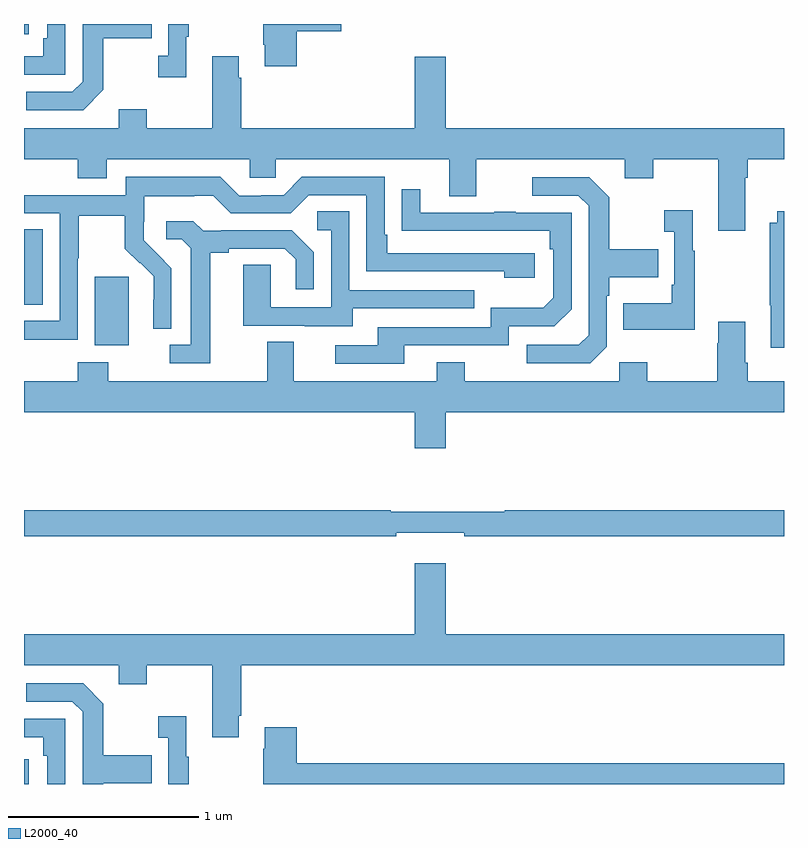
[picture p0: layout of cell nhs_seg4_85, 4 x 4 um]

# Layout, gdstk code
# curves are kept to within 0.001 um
import gdstk
lib = gdstk.Library(unit=1e-6, precision=1e-09)
def R(c, l, rs):  # rectangles x0, y0, x1, y1
    for r in rs: c.add(gdstk.rectangle(r[:2], r[2:], *l))
def P(c, l, *ps):  # polygons
    for p in ps: c.add(gdstk.Polygon(p, *l))
L2000_40 = (2000, 40)

nhs_seg4_85 = lib.new_cell('nhs_seg4_85')
R(nhs_seg4_85, L2000_40, [(115,758.9,115.024,759.03), (115.373,761.21,115.552,761.571), (115,761.422,115.099,761.819), (115,762.846,115.024,762.9)])
P(nhs_seg4_85, L2000_40, [(115.855,762.833),(115.867,762.833),(115.867,762.9),(115.758,762.9),(115.758,762.734),(115.707,762.734),(115.707,762.621),(115.855,762.621)],
  [(115.417,762.553),(115.417,762.826),(115.673,762.826),(115.673,762.9),(115.308,762.9),(115.308,762.597),(115.254,762.543),(115.011,762.543),(115.011,762.447),(115.311,762.447)],
  [(116.435,762.863),(116.671,762.863),(116.671,762.9),(116.26,762.9),(116.26,762.79),(116.267,762.79),(116.267,762.678),(116.435,762.678)],
  [(115.218,762.9),(115.122,762.9),(115.122,762.826),(115.102,762.826),(115.102,762.729),(115,762.729),(115,762.633),(115.218,762.633)],
  [(118.795,762.092),(118.808,762.092),(118.808,762.188),(119,762.188),(119,762.352),(117.22,762.352),(117.22,762.727),(117.056,762.727),(117.056,762.352),(116.144,762.352),(116.144,762.617),(116.131,762.617),(116.131,762.73),(115.991,762.73),(115.991,762.352),(115.647,762.352),(115.647,762.451),(115.499,762.451),(115.499,762.352),(115,762.352),(115,762.188),(115.283,762.188),(115.283,762.089),(115.435,762.089),(115.435,762.188),(116.187,762.188),(116.187,762.09),(116.325,762.09),(116.325,762.188),(117.239,762.188),(117.239,761.994),(117.379,761.994),(117.379,762.188),(118.163,762.188),(118.163,762.089),(118.311,762.089),(118.311,762.188),(118.655,762.188),(118.655,761.811),(118.795,761.811)],
  [(115.284,761.668),(115.287,761.668),(115.287,761.892),(115.531,761.892),(115.531,761.717),(115.608,761.64),(115.611,761.643),(115.682,761.573),(115.682,761.45),(115.68,761.45),(115.68,761.296),(115.776,761.296),(115.776,761.614),(115.63,761.762),(115.63,761.859),(115.632,761.859),(115.632,761.993),(115.895,761.993),(115.895,761.997),(115.995,761.997),(116.088,761.904),(116.403,761.904),(116.499,762),(116.802,762),(116.802,761.598),(117.527,761.598),(117.527,761.564),(117.688,761.564),(117.688,761.694),(116.911,761.694),(116.911,761.791),(116.898,761.791),(116.898,762.096),(116.463,762.096),(116.367,762),(116.249,762),(116.249,761.997),(116.133,761.997),(116.033,762.097),(115.536,762.097),(115.536,762),(115,762),(115,761.904),(115.188,761.904),(115.188,761.337),(115,761.337),(115,761.239),(115.284,761.239)],
  [(118.068,761.202),(118.068,761.471),(118.081,761.471),(118.081,761.567),(118.337,761.567),(118.337,761.715),(118.081,761.715),(118.081,761.987),(117.975,762.093),(117.675,762.093),(117.675,761.997),(117.918,761.997),(117.972,761.943),(117.972,761.262),(117.921,761.211),(117.645,761.211),(117.645,761.115),(117.981,761.115)],
  [(117.001,761.208),(117.552,761.208),(117.552,761.31),(117.792,761.31),(117.882,761.4),(117.882,761.907),(117.587,761.907),(117.587,761.912),(117.475,761.912),(117.475,761.907),(117.085,761.907),(117.085,762.031),(116.989,762.031),(116.989,761.812),(117.766,761.811),(117.766,761.714),(117.786,761.714),(117.786,761.46),(117.733,761.407),(117.456,761.407),(117.456,761.304),(116.861,761.304),(116.861,761.208),(116.637,761.208),(116.637,761.112),(117.001,761.112)],
  [(118.531,761.707),(118.519,761.707),(118.519,761.92),(118.371,761.92),(118.371,761.807),(118.422,761.807),(118.422,761.527),(118.41,761.527),(118.41,761.431),(118.153,761.431),(118.153,761.291),(118.531,761.291)],
  [(116.731,761.403),(117.371,761.403),(117.371,761.499),(116.712,761.499),(116.712,761.915),(116.544,761.915),(116.544,761.814),(116.616,761.814),(116.616,761.409),(116.298,761.409),(116.298,761.633),(116.153,761.633),(116.153,761.313),(116.477,761.313),(116.477,761.309),(116.731,761.309)],
  [(119,761.914),(118.964,761.914),(118.964,761.854),(118.924,761.854),(118.924,761.419),(118.931,761.419),(118.931,761.196),(119,761.196)],
  [(115.981,761.696),(116.077,761.696),(116.077,761.718),(116.372,761.718),(116.429,761.661),(116.429,761.505),(116.526,761.505),(116.526,761.698),(116.41,761.814),(116.038,761.814),(116.038,761.811),(115.944,761.811),(115.892,761.863),(115.749,761.863),(115.749,761.766),(115.83,761.766),(115.877,761.719),(115.877,761.211),(115.767,761.211),(115.767,761.115),(115.981,761.115)],
  [(117.22,760.856),(119,760.856),(119,761.02),(118.808,761.02),(118.808,761.116),(118.795,761.116),(118.795,761.332),(118.655,761.332),(118.655,761.219),(118.648,761.219),(118.648,761.02),(118.281,761.02),(118.281,761.119),(118.134,761.119),(118.134,761.02),(117.321,761.02),(117.321,761.119),(117.173,761.119),(117.173,761.02),(116.419,761.02),(116.419,761.228),(116.279,761.228),(116.279,761.02),(115.443,761.02),(115.443,761.119),(115.283,761.119),(115.283,761.02),(115,761.02),(115,760.856),(117.056,760.856),(117.056,760.668),(117.22,760.668)],
  [(116.96,760.223),(117.316,760.223),(117.316,760.204),(119,760.204),(119,760.34),(117.53,760.34),(117.53,760.333),(116.93,760.333),(116.93,760.34),(115,760.34),(115,760.204),(116.96,760.204)],
  [(116.131,759.259),(116.144,759.259),(116.144,759.524),(119,759.524),(119,759.688),(117.22,759.688),(117.22,760.063),(117.056,760.063),(117.056,759.688),(115,759.688),(115,759.524),(115.499,759.524),(115.499,759.425),(115.647,759.425),(115.647,759.524),(115.991,759.524),(115.991,759.147),(116.131,759.147)],
  [(115.417,758.903),(115.673,758.903),(115.673,759.051),(115.417,759.051),(115.417,759.323),(115.311,759.429),(115.011,759.429),(115.011,759.333),(115.254,759.333),(115.308,759.279),(115.308,758.9),(115.417,758.9)],
  [(115.867,759.043),(115.855,759.043),(115.855,759.256),(115.707,759.256),(115.707,759.143),(115.758,759.143),(115.758,758.9),(115.867,758.9)],
  [(115.218,759.243),(115,759.243),(115,759.147),(115.102,759.147),(115.102,759.05),(115.122,759.05),(115.122,758.9),(115.218,758.9)],
  [(119,759.008),(116.435,759.008),(116.435,759.199),(116.267,759.199),(116.267,759.086),(116.26,759.086),(116.26,758.9),(119,758.9)])

lib.write_gds('nhs_seg4_85.gds')
